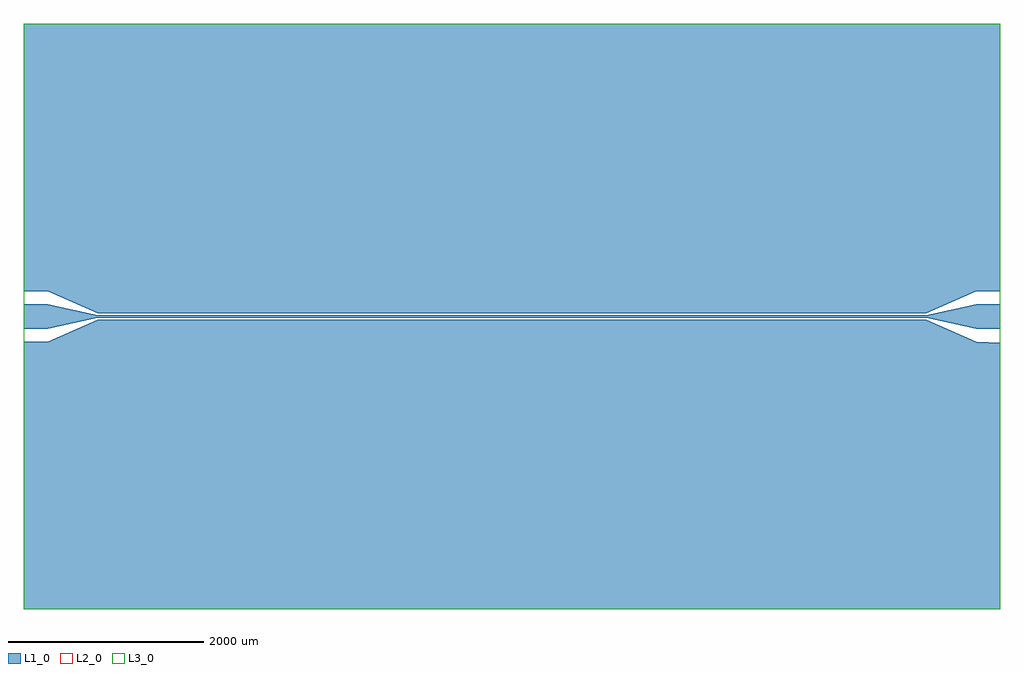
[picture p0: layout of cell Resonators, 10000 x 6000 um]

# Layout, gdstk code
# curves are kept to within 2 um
import gdstk
lib = gdstk.Library(unit=1e-6, precision=1e-06)
def R(c, l, rs):  # rectangles x0, y0, x1, y1
    for r in rs: c.add(gdstk.rectangle(r[:2], r[2:], *l))
def P(c, l, *ps):  # polygons
    for p in ps: c.add(gdstk.Polygon(p, *l))
L1_0 = (1, 0)
L2_0 = (2, 0)
L3_0 = (3, 0)

resonators = lib.new_cell('Resonators')
P(resonators, L1_0, [(2447,37),(2437,41),(2429,55),(2433,71),(2447,79),(2855,79),(2881,83),(2905,91),(2927,104),(2954,131),(2972,165),(2979,203),(2979,1914),(2972,1952),(2946,1995),(2927,2012),(2905,2025),(2869,2036),(2831,2036),(2806,2030),(2784,2019),(2754,1995),(2728,1952),(2721,1914),(2719,869),(2711,837),(2697,806),(2677,780),(2639,748),(2608,734),(2576,726),(2541,724),(2508,729),(2461,748),(2435,768),(2412,793),(2395,821),(2389,837),(2379,886),(2379,2061),(2383,2071),(2397,2079),(2413,2075),(2421,2061),(2422,876),(2433,840),(2446,818),(2463,799),(2506,773),(2531,767),(2556,766),(2594,773),(2637,799),(2654,818),(2667,840),(2678,876),(2679,1917),(2684,1950),(2695,1982),(2712,2010),(2735,2035),(2761,2055),(2792,2069),(2824,2077),(2859,2079),(2892,2074),(2939,2055),(2965,2035),(2988,2010),(3005,1982),(3011,1966),(3021,1917),(3021,199),(3016,166),(2997,119),(2977,93),(2939,61),(2892,42),(2859,37)],
  [(2448,48),(2440,56),(2441,63),(2448,68),(2857,68),(2884,72),(2922,88),(2954,114),(2977,148),(2989,187),(2990,1915),(2986,1942),(2977,1968),(2954,2002),(2922,2028),(2884,2044),(2857,2048),(2816,2044),(2778,2028),(2746,2002),(2723,1968),(2711,1929),(2710,887),(2705,856),(2695,827),(2669,787),(2645,766),(2618,750),(2574,737),(2558,735),(2526,737),(2482,750),(2455,766),(2431,787),(2413,813),(2399,841),(2390,887),(2391,2063),(2402,2068),(2410,2060),(2411,874),(2423,835),(2437,812),(2456,791),(2490,768),(2516,759),(2543,755),(2584,759),(2610,768),(2633,782),(2654,801),(2670,823),(2682,848),(2689,874),(2690,1916),(2695,1947),(2705,1976),(2721,2003),(2742,2027),(2768,2045),(2796,2059),(2826,2066),(2858,2068),(2889,2063),(2904,2059),(2932,2045),(2969,2016),(2987,1990),(3001,1962),(3010,1916),(3010,200),(3005,169),(2995,140),(2969,100),(2932,71),(2904,57),(2889,53),(2858,48)],
  [(-4246,32),(-4756,257),(-5000,257),(-5000,3000),(5000,3000),(5000,257),(4756,257),(4246,32)],
  [(-5000,-3000),(-5000,-257),(-4756,-257),(-4246,-32),(4246,-32),(4756,-257),(5000,-267),(5000,-3000)],
  [(-1553,37),(-1563,41),(-1571,55),(-1567,71),(-1553,79),(-1145,79),(-1119,83),(-1095,91),(-1073,104),(-1046,131),(-1028,165),(-1021,203),(-1021,1914),(-1028,1952),(-1054,1995),(-1073,2012),(-1095,2025),(-1131,2036),(-1169,2036),(-1194,2030),(-1216,2019),(-1246,1995),(-1272,1952),(-1279,1914),(-1281,744),(-1289,712),(-1303,681),(-1323,655),(-1361,623),(-1392,609),(-1424,601),(-1459,599),(-1492,604),(-1539,623),(-1565,643),(-1588,668),(-1605,696),(-1611,712),(-1621,761),(-1621,2072),(-1617,2082),(-1603,2090),(-1587,2086),(-1579,2072),(-1578,751),(-1567,715),(-1554,693),(-1537,674),(-1494,648),(-1469,642),(-1444,641),(-1406,648),(-1363,674),(-1346,693),(-1333,715),(-1322,751),(-1321,1917),(-1316,1950),(-1305,1982),(-1288,2010),(-1265,2035),(-1239,2055),(-1208,2069),(-1176,2077),(-1141,2079),(-1108,2074),(-1061,2055),(-1035,2035),(-1012,2010),(-995,1982),(-989,1966),(-979,1917),(-979,199),(-984,166),(-1003,119),(-1023,93),(-1061,61),(-1108,42),(-1141,37)],
  [(-1552,48),(-1560,56),(-1559,63),(-1552,68),(-1143,68),(-1116,72),(-1078,88),(-1046,114),(-1023,148),(-1011,187),(-1010,1915),(-1014,1942),(-1023,1968),(-1037,1991),(-1056,2012),(-1090,2035),(-1129,2047),(-1171,2047),(-1197,2040),(-1233,2021),(-1254,2002),(-1277,1968),(-1289,1929),(-1290,762),(-1295,731),(-1305,702),(-1331,662),(-1355,641),(-1382,625),(-1426,612),(-1442,610),(-1474,612),(-1518,625),(-1545,641),(-1569,662),(-1587,688),(-1601,716),(-1610,762),(-1609,2074),(-1598,2079),(-1590,2071),(-1589,749),(-1577,710),(-1563,687),(-1544,666),(-1510,643),(-1484,634),(-1457,630),(-1416,634),(-1390,643),(-1367,657),(-1346,676),(-1330,698),(-1318,723),(-1311,749),(-1310,1916),(-1305,1947),(-1295,1976),(-1279,2003),(-1258,2027),(-1232,2045),(-1204,2059),(-1174,2066),(-1142,2068),(-1111,2063),(-1096,2059),(-1068,2045),(-1031,2016),(-1013,1990),(-999,1962),(-990,1916),(-990,200),(-995,169),(-1005,140),(-1031,100),(-1068,71),(-1096,57),(-1111,53),(-1142,48)],
  [(-2859,-2079),(-2892,-2074),(-2924,-2063),(-2965,-2035),(-2988,-2010),(-3005,-1982),(-3016,-1950),(-3021,-1917),(-3021,-199),(-3016,-166),(-2997,-119),(-2977,-93),(-2939,-61),(-2892,-42),(-2859,-37),(-2447,-37),(-2437,-41),(-2429,-55),(-2433,-71),(-2447,-79),(-2855,-79),(-2893,-86),(-2927,-104),(-2954,-131),(-2972,-165),(-2978,-190),(-2979,-1914),(-2972,-1952),(-2967,-1963),(-2954,-1985),(-2937,-2004),(-2905,-2025),(-2869,-2036),(-2831,-2036),(-2806,-2030),(-2773,-2012),(-2754,-1995),(-2733,-1963),(-2722,-1927),(-2721,-699),(-2716,-666),(-2705,-634),(-2677,-593),(-2652,-570),(-2624,-553),(-2592,-542),(-2559,-537),(-2508,-542),(-2461,-561),(-2435,-581),(-2412,-606),(-2395,-634),(-2389,-650),(-2379,-699),(-2380,-2065),(-2387,-2075),(-2403,-2079),(-2413,-2075),(-2421,-2061),(-2422,-689),(-2433,-653),(-2446,-631),(-2463,-612),(-2506,-586),(-2531,-580),(-2556,-579),(-2594,-586),(-2637,-612),(-2654,-631),(-2667,-653),(-2678,-689),(-2679,-1917),(-2684,-1950),(-2703,-1997),(-2723,-2023),(-2748,-2046),(-2776,-2063),(-2808,-2074)],
  [(-2402,-2079),(-2410,-2071),(-2411,-687),(-2423,-648),(-2446,-614),(-2467,-595),(-2490,-581),(-2529,-569),(-2557,-568),(-2584,-572),(-2610,-581),(-2633,-595),(-2654,-614),(-2670,-636),(-2682,-661),(-2689,-687),(-2690,-1916),(-2699,-1962),(-2721,-2003),(-2731,-2016),(-2755,-2037),(-2796,-2059),(-2826,-2066),(-2858,-2068),(-2904,-2059),(-2932,-2045),(-2958,-2027),(-2987,-1990),(-3001,-1962),(-3005,-1947),(-3010,-1916),(-3010,-200),(-3001,-154),(-2987,-126),(-2969,-100),(-2932,-71),(-2904,-57),(-2889,-53),(-2858,-48),(-2448,-48),(-2441,-53),(-2440,-60),(-2448,-68),(-2871,-69),(-2910,-81),(-2944,-104),(-2970,-136),(-2986,-174),(-2990,-201),(-2990,-1915),(-2986,-1942),(-2970,-1980),(-2944,-2012),(-2910,-2035),(-2884,-2044),(-2857,-2048),(-2816,-2044),(-2790,-2035),(-2767,-2021),(-2737,-1991),(-2718,-1955),(-2710,-1915),(-2708,-684),(-2701,-654),(-2687,-626),(-2669,-600),(-2645,-579),(-2604,-557),(-2574,-550),(-2542,-548),(-2511,-553),(-2496,-557),(-2468,-571),(-2431,-600),(-2413,-626),(-2399,-654),(-2390,-700),(-2390,-2071),(-2395,-2078)],
  [(1597,-2090),(1587,-2086),(1579,-2072),(1578,-814),(1567,-778),(1546,-746),(1527,-729),(1505,-716),(1469,-705),(1431,-705),(1406,-711),(1373,-729),(1354,-746),(1339,-767),(1328,-789),(1322,-814),(1321,-1917),(1316,-1950),(1305,-1982),(1277,-2023),(1239,-2055),(1192,-2074),(1141,-2079),(1092,-2069),(1076,-2063),(1048,-2046),(1023,-2023),(1003,-1997),(984,-1950),(979,-1917),(979,-199),(989,-150),(995,-134),(1012,-106),(1035,-81),(1061,-61),(1108,-42),(1141,-37),(1553,-37),(1567,-45),(1571,-61),(1567,-71),(1553,-79),(1132,-80),(1107,-86),(1073,-104),(1046,-131),(1028,-165),(1021,-203),(1022,-1927),(1033,-1963),(1054,-1995),(1073,-2012),(1095,-2025),(1131,-2036),(1169,-2036),(1194,-2030),(1216,-2019),(1246,-1995),(1272,-1952),(1279,-1914),(1281,-807),(1289,-775),(1303,-744),(1323,-718),(1361,-686),(1392,-672),(1424,-664),(1459,-662),(1492,-667),(1539,-686),(1565,-706),(1588,-731),(1605,-759),(1611,-775),(1621,-824),(1621,-2072),(1613,-2086)],
  [(1598,-2079),(1590,-2071),(1589,-812),(1577,-773),(1554,-739),(1533,-720),(1510,-706),(1471,-694),(1443,-693),(1416,-697),(1390,-706),(1367,-720),(1346,-739),(1330,-761),(1318,-786),(1311,-812),(1310,-1916),(1301,-1962),(1279,-2003),(1269,-2016),(1245,-2037),(1204,-2059),(1174,-2066),(1142,-2068),(1096,-2059),(1068,-2045),(1042,-2027),(1013,-1990),(999,-1962),(995,-1947),(990,-1916),(990,-200),(999,-154),(1013,-126),(1031,-100),(1068,-71),(1096,-57),(1111,-53),(1142,-48),(1552,-48),(1559,-53),(1560,-60),(1552,-68),(1129,-69),(1090,-81),(1056,-104),(1030,-136),(1014,-174),(1010,-201),(1010,-1915),(1014,-1942),(1030,-1980),(1056,-2012),(1090,-2035),(1116,-2044),(1143,-2048),(1184,-2044),(1210,-2035),(1233,-2021),(1263,-1991),(1282,-1955),(1290,-1915),(1292,-809),(1299,-779),(1313,-751),(1331,-725),(1355,-704),(1396,-682),(1426,-675),(1458,-673),(1489,-678),(1504,-682),(1532,-696),(1569,-725),(1587,-751),(1601,-779),(1610,-825),(1610,-2071),(1605,-2078)],
  [(-5000,-127),(-5000,127),(-4756,127),(-4246,15),(4246,15),(4756,127),(5000,127),(5000,-127),(4756,-127),(4246,-15),(-4246,-15),(-4756,-127)])
R(resonators, L2_0, [(-5000,-3000,5000,3000)])
R(resonators, L3_0, [(-5000,-3000,5000,3000)])
P(resonators, L3_0, [(1500,2370),(1500,2370),(1500,2370),(1500,2370)])

lib.write_gds('Resonators.gds')
